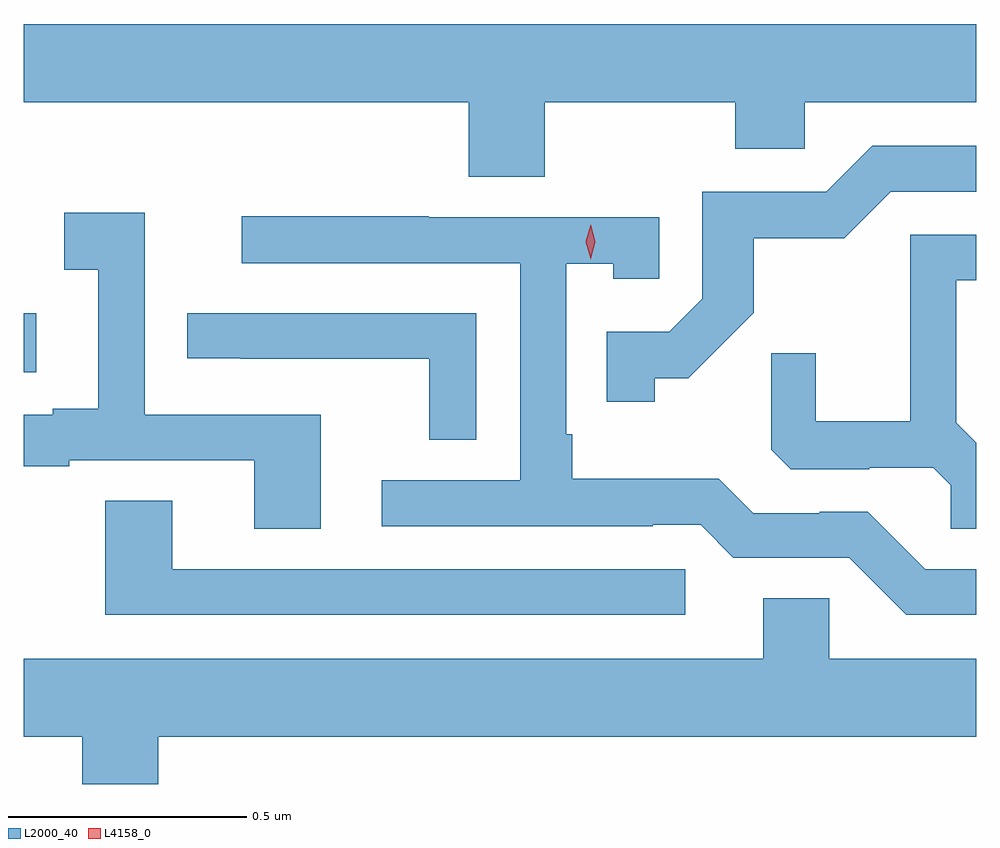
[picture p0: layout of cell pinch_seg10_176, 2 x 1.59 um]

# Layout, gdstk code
import gdstk
lib = gdstk.Library(unit=1e-6, precision=1e-09)
def R(c, l, rs):  # rectangles x0, y0, x1, y1
    for r in rs: c.add(gdstk.rectangle(r[:2], r[2:], *l))
def P(c, l, *ps):  # polygons
    for p in ps: c.add(gdstk.Polygon(p, *l))
L2000_40 = (2000, 40)
L4158_0 = (4158, 0)

pinch_seg10_176 = lib.new_cell('pinch_seg10_176')
R(pinch_seg10_176, L2000_40, [(683.791,1266.449,683.818,1266.573)])
P(pinch_seg10_176, L2000_40, [(684.885,1267.016),(685.285,1267.016),(685.285,1266.918),(685.431,1266.918),(685.431,1267.016),(685.791,1267.016),(685.791,1267.18),(683.791,1267.18),(683.791,1267.016),(684.725,1267.016),(684.725,1266.859),(684.885,1266.859)],
  [(685.116,1266.437),(685.186,1266.437),(685.324,1266.574),(685.324,1266.73),(685.513,1266.73),(685.611,1266.828),(685.791,1266.828),(685.791,1266.924),(685.572,1266.924),(685.476,1266.828),(685.215,1266.828),(685.215,1266.603),(685.146,1266.534),(685.015,1266.534),(685.015,1266.387),(685.116,1266.387)],
  [(684.415,1266.36),(684.045,1266.36),(684.045,1266.784),(683.877,1266.784),(683.877,1266.664),(683.948,1266.664),(683.948,1266.373),(683.852,1266.373),(683.852,1266.36),(683.791,1266.36),(683.791,1266.252),(683.887,1266.252),(683.887,1266.264),(684.275,1266.264),(684.275,1266.121),(684.415,1266.121)],
  [(685.791,1266.036),(685.683,1266.036),(685.563,1266.156),(685.462,1266.156),(685.462,1266.153),(685.323,1266.153),(685.25,1266.226),(684.943,1266.226),(684.943,1266.319),(684.93,1266.319),(684.93,1266.677),(685.029,1266.677),(685.029,1266.645),(685.125,1266.645),(685.125,1266.774),(684.641,1266.774),(684.641,1266.777),(684.249,1266.777),(684.249,1266.678),(684.834,1266.678),(684.834,1266.222),(684.543,1266.222),(684.543,1266.126),(685.112,1266.126),(685.112,1266.129),(685.212,1266.129),(685.281,1266.06),(685.524,1266.06),(685.644,1265.94),(685.791,1265.94)],
  [(685.791,1266.301),(685.749,1266.343),(685.749,1266.642),(685.791,1266.642),(685.791,1266.738),(685.652,1266.738),(685.652,1266.346),(685.454,1266.346),(685.454,1266.489),(685.36,1266.489),(685.36,1266.287),(685.401,1266.246),(685.566,1266.246),(685.566,1266.249),(685.7,1266.249),(685.737,1266.212),(685.737,1266.121),(685.791,1266.121)],
  [(684.741,1266.573),(684.135,1266.573),(684.135,1266.478),(684.247,1266.478),(684.247,1266.477),(684.643,1266.477),(684.643,1266.307),(684.741,1266.307)],
  [(685.18,1266.036),(684.103,1266.036),(684.103,1266.179),(683.963,1266.179),(683.963,1265.94),(685.18,1265.94)],
  [(684.074,1265.684),(685.791,1265.684),(685.791,1265.848),(685.482,1265.848),(685.482,1265.975),(685.343,1265.975),(685.343,1265.848),(683.791,1265.848),(683.791,1265.684),(683.914,1265.684),(683.914,1265.585),(684.074,1265.585)])
P(pinch_seg10_176, L4158_0, [(684.981,1266.686),(684.981,1266.687),(684.971,1266.723),(684.981,1266.759),(684.981,1266.759),(684.981,1266.759),(684.991,1266.723),(684.981,1266.687)])

lib.write_gds('pinch_seg10_176.gds')
